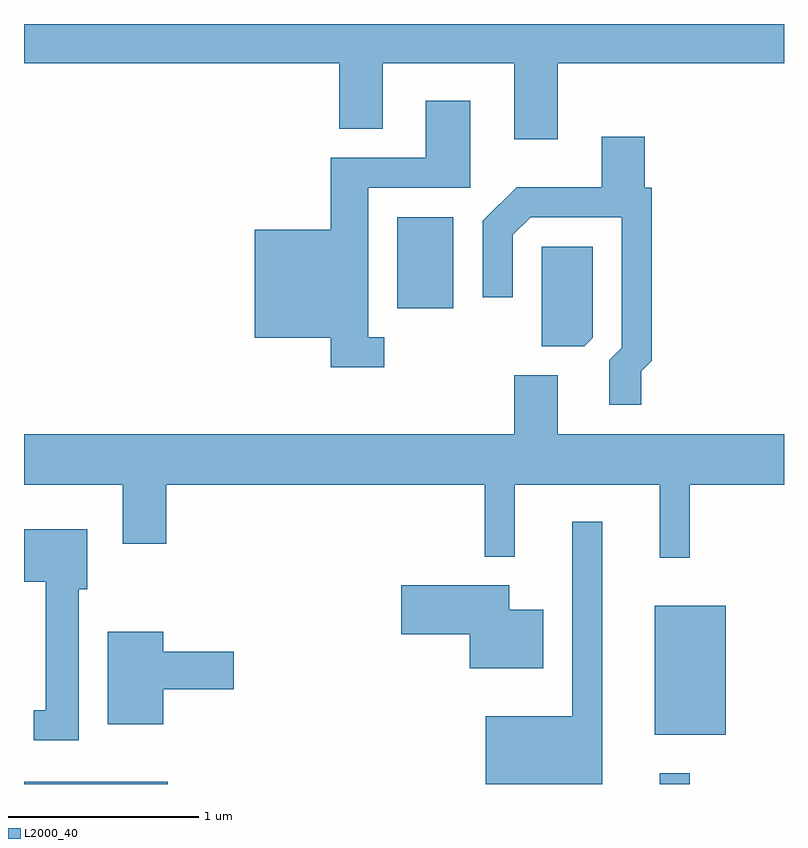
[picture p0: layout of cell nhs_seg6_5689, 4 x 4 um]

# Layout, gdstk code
import gdstk
lib = gdstk.Library(unit=1e-6, precision=1e-09)
def R(c, l, rs):  # rectangles x0, y0, x1, y1
    for r in rs: c.add(gdstk.rectangle(r[:2], r[2:], *l))
def P(c, l, *ps):  # polygons
    for p in ps: c.add(gdstk.Polygon(p, *l))
L2000_40 = (2000, 40)

nhs_seg6_5689 = lib.new_cell('nhs_seg6_5689')
R(nhs_seg6_5689, L2000_40, [(357.611,1626.162,358.368,1626.174), (360.956,1626.162,361.114,1626.218), (360.931,1626.421,361.304,1627.099), (359.576,1628.666,359.869,1629.144)])
P(nhs_seg6_5689, L2000_40, [(360.419,1629.956),(361.611,1629.956),(361.611,1630.162),(357.611,1630.162),(357.611,1629.956),(359.271,1629.956),(359.271,1629.611),(359.499,1629.611),(359.499,1629.956),(360.191,1629.956),(360.191,1629.556),(360.419,1629.556)],
  [(359.508,1628.514),(359.424,1628.514),(359.424,1629.301),(359.959,1629.301),(359.959,1629.759),(359.726,1629.759),(359.726,1629.459),(359.226,1629.459),(359.226,1629.079),(358.826,1629.079),(358.826,1628.511),(359.226,1628.511),(359.226,1628.356),(359.508,1628.356)],
  [(360.859,1628.334),(360.914,1628.389),(360.914,1629.299),(360.879,1629.299),(360.879,1629.569),(360.651,1629.569),(360.651,1629.304),(360.204,1629.304),(360.026,1629.127),(360.026,1628.723),(360.184,1628.723),(360.184,1629.054),(360.277,1629.146),(360.756,1629.146),(360.756,1628.457),(360.691,1628.392),(360.691,1628.158),(360.859,1628.158)],
  [(360.604,1628.512),(360.604,1628.989),(360.336,1628.989),(360.336,1628.466),(360.559,1628.466)],
  [(361.114,1627.736),(361.611,1627.736),(361.611,1628.004),(360.419,1628.004),(360.419,1628.314),(360.191,1628.314),(360.191,1628.004),(357.611,1628.004),(357.611,1627.736),(358.131,1627.736),(358.131,1627.426),(358.359,1627.426),(358.359,1627.736),(360.036,1627.736),(360.036,1627.358),(360.194,1627.358),(360.194,1627.736),(360.956,1627.736),(360.956,1627.353),(361.114,1627.353)],
  [(360.654,1627.543),(360.496,1627.543),(360.496,1626.519),(360.041,1626.519),(360.041,1626.162),(360.654,1626.162)],
  [(357.899,1627.186),(357.944,1627.186),(357.944,1627.504),(357.611,1627.504),(357.611,1627.226),(357.726,1627.226),(357.726,1626.549),(357.663,1626.549),(357.663,1626.391),(357.899,1626.391)],
  [(360.344,1627.079),(360.164,1627.079),(360.164,1627.209),(359.596,1627.209),(359.596,1626.951),(359.956,1626.951),(359.956,1626.771),(360.344,1626.771)],
  [(358.344,1626.661),(358.714,1626.661),(358.714,1626.859),(358.344,1626.859),(358.344,1626.964),(358.051,1626.964),(358.051,1626.476),(358.344,1626.476)])

lib.write_gds('nhs_seg6_5689.gds')
